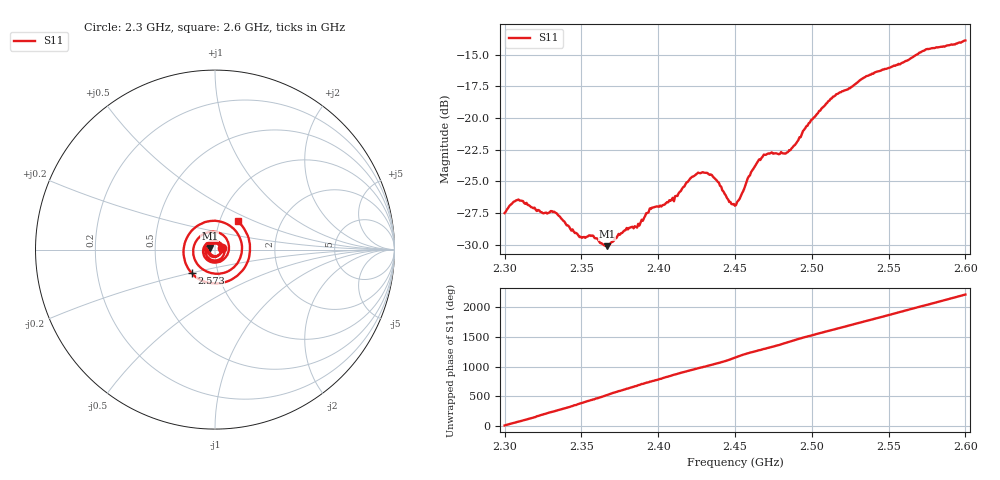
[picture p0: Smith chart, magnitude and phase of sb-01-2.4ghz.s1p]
! NanoVNA-App
! Date: 2026-05-22 17:30:26
! Start: 2.3GHz Stop: 2.6GHz Points: 401
! S-Parameter data: F S11
# Hz S RI R 50
!  Frequency  S11_Real  S11_Imag
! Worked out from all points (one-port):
!   401 points, 2.3 GHz to 2.6 GHz, reference 50 ohm
!   lowest |S11| = -30.1 dB at 2.367 GHz (marker M1), VSWR 1.06, Z = 47.1 + j0.906 ohm
!   |S11| at or under -10 dB: start of sweep to end of sweep
!   S11 on the Smith chart (normalised r, x): 2.3 GHz: 1.09, +0.01; 2.573 GHz: 0.75, -0.20; 2.6 GHz: 1.22, +0.40
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2.3e9  0.0416 0.0066
2.309e9  0.0146 0.0453
2.3225e9  -0.0429 0.00424
2.3375e9  0.0104 -0.0383
2.3555e9  0.0124 0.0321
2.36675e9  -0.0296 0.00961
2.375e9  -0.0225 -0.0262
2.39375e9  0.0409 0.011
2.4125e9  -0.0451 0.0195
2.4305e9  0.00915 -0.06
2.44025e9  0.0524 -0.0127
2.45e9  0.0161 0.042
2.4665e9  -0.0648 -0.021
2.477e9  0.00163 -0.0724
2.4875e9  0.076 -0.00871
2.504e9  -0.0397 0.0965
2.51525e9  -0.1209 -0.0195
2.525e9  -0.0336 -0.1266
2.5325e9  0.0859 -0.1134
2.54225e9  0.1486 0.0329
2.55275e9  0.0135 0.1592
2.5625e9  -0.1502 0.0771
2.56775e9  -0.175 -0.0264
2.573e9  -0.1305 -0.1298
2.579e9  -0.0184 -0.1877
2.58425e9  0.0958 -0.1651
2.5925e9  0.1949 -0.0073
2.6e9  0.1273 0.1569
